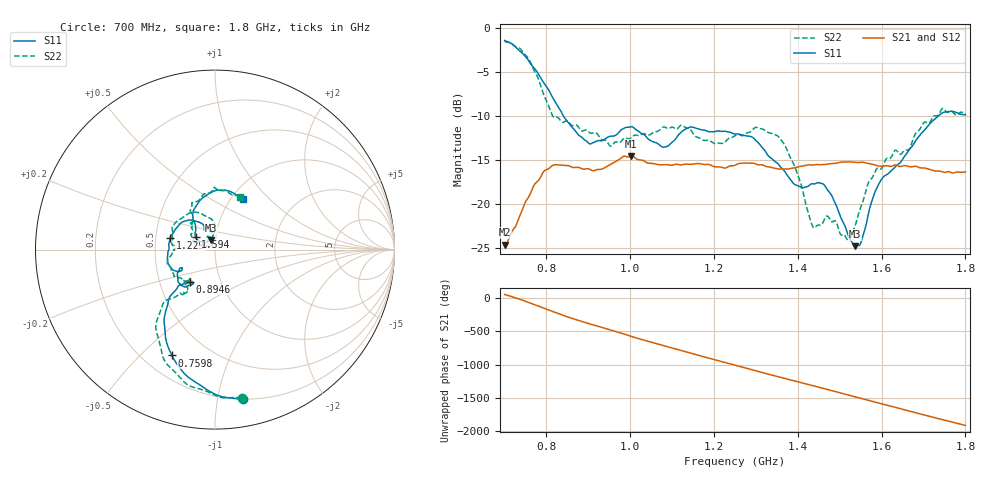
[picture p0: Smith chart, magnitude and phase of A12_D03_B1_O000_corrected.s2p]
! Created with skrf 1.9.0 (http://scikit-rf.org).
# Hz S RI R 50.0
!freq ReS11 ImS11 ReS21 ImS21 ReS12 ImS12 ReS22 ImS22
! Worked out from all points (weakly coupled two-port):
!   1601 points, 700 MHz to 1.8 GHz, reference 50 ohm
!   highest |S21| = -14.59 dB at 1.002 GHz (marker M1); lowest = -24.7 dB at 701.4 MHz (marker M2)
!   lowest |S11| = -24.8 dB at 1.537 GHz (marker M3), VSWR 1.12, Z = 47.4 + j4.95 ohm
!   |S11| at or under -10 dB: 840.3 MHz to 1.736 GHz (895.3 MHz wide, 69.5 % of centre)
!   |S22| runs from -24.2 to -1.5 dB; largest |S21 - S12| = 0.0036
!   S11 on the Smith chart (normalised r, x): 700 MHz: 0.20, -1.19; 759.8 MHz: 0.32, -0.63; 894.6 MHz: 0.71, -0.27; 1.229 GHz: 0.60, +0.08; 1.594 GHz: 0.80, +0.12; 1.8 GHz: 1.13, +0.71
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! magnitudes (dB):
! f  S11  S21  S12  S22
! 700 MHz  -1.4  -24.6  -24.4  -1.5
! 701.4 MHz  -1.5  -24.7  -24.3  -1.6
! 759.8 MHz  -3.9  -19.0  -18.9  -3.7
! 814.8 MHz  -7.9  -15.6  -15.7  -10.0
! 883.6 MHz  -12.4  -16.0  -15.9  -11.7
! 894.6 MHz  -12.8  -16.0  -16.1  -11.6
! 953 MHz  -12.3  -15.5  -15.5  -13.5
! 1.002 GHz  -11.2  -14.6  -14.7  -12.5
! 1.067 GHz  -13.2  -15.6  -15.5  -11.7
! 1.229 GHz  -11.8  -15.9  -15.8  -12.8
! 1.25 GHz  -12.1  -15.6  -15.5  -12.3
! 1.357 GHz  -15.7  -16.1  -16.0  -12.5
! 1.394 GHz  -17.9  -15.9  -15.9  -16.0
! 1.434 GHz  -17.7  -15.6  -15.6  -22.4
! 1.476 GHz  -18.7  -15.5  -15.5  -21.7
! 1.52 GHz  -23.6  -15.2  -15.3  -24.2
! 1.537 GHz  -24.8  -15.3  -15.3  -22.5
! 1.552 GHz  -24.2  -15.3  -15.3  -20.2
! 1.594 GHz  -17.7  -15.7  -15.7  -16.0
! 1.617 GHz  -16.5  -15.7  -15.7  -14.9
! 1.74 GHz  -9.9  -16.3  -16.3  -9.6
! 1.8 GHz  -9.9  -16.4  -16.4  -9.8
